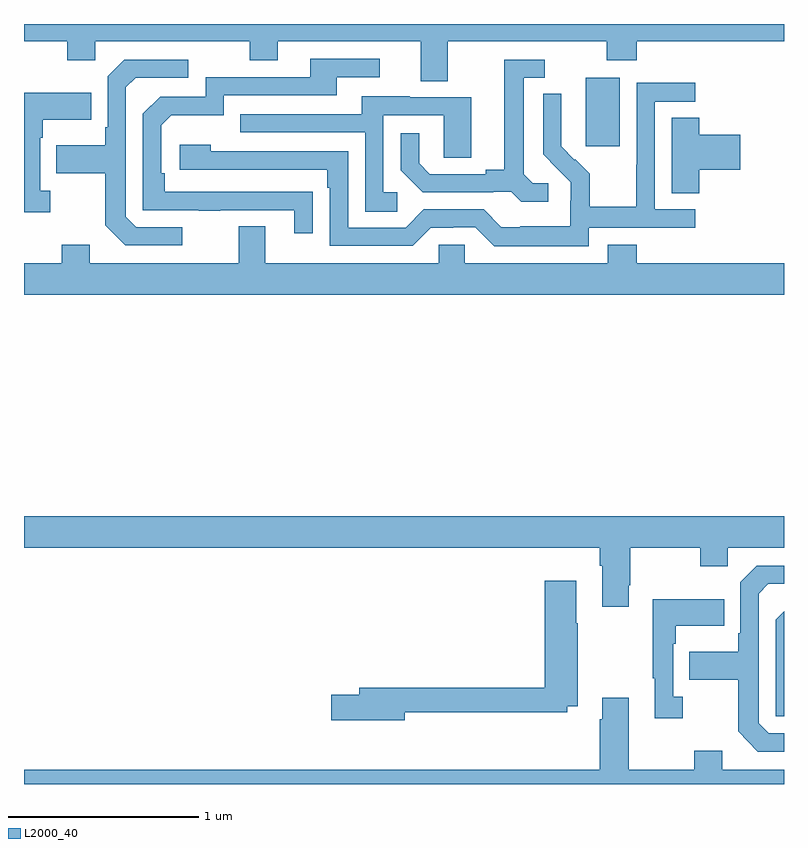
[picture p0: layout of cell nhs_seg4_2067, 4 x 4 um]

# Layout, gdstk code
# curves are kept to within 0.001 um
import gdstk
lib = gdstk.Library(unit=1e-6, precision=1e-09)
def R(c, l, rs):  # rectangles x0, y0, x1, y1
    for r in rs: c.add(gdstk.rectangle(r[:2], r[2:], *l))
def P(c, l, *ps):  # polygons
    for p in ps: c.add(gdstk.Polygon(p, *l))
L2000_40 = (2000, 40)

nhs_seg4_2067 = lib.new_cell('nhs_seg4_2067')
R(nhs_seg4_2067, L2000_40, [(219.956,808.257,220.135,808.618)])
P(nhs_seg4_2067, L2000_40, [(219.229,808.808),(220.066,808.808),(220.066,808.709),(220.226,808.709),(220.226,808.808),(221,808.808),(221,808.9),(217,808.9),(217,808.808),(217.228,808.808),(217.228,808.709),(217.374,808.709),(217.374,808.808),(218.188,808.808),(218.188,808.709),(218.335,808.709),(218.335,808.808),(219.089,808.808),(219.089,808.6),(219.229,808.6)],
  [(218.519,808.016),(217.742,808.017),(217.742,808.114),(217.722,808.114),(217.722,808.368),(217.775,808.421),(218.052,808.421),(218.052,808.524),(218.647,808.524),(218.647,808.62),(218.872,808.62),(218.872,808.716),(218.507,808.716),(218.507,808.62),(217.956,808.62),(217.956,808.518),(217.716,808.518),(217.626,808.428),(217.626,807.921),(217.921,807.921),(217.921,807.916),(218.033,807.916),(218.033,807.921),(218.423,807.921),(218.423,807.798),(218.519,807.798)],
  [(217.834,807.831),(217.59,807.831),(217.536,807.885),(217.536,808.566),(217.587,808.617),(217.864,808.617),(217.864,808.713),(217.527,808.713),(217.44,808.626),(217.44,808.357),(217.428,808.357),(217.428,808.261),(217.171,808.261),(217.171,808.114),(217.428,808.114),(217.428,807.841),(217.533,807.735),(217.834,807.735)],
  [(219.76,808.062),(219.678,808.062),(219.631,808.109),(219.631,808.617),(219.742,808.617),(219.742,808.713),(219.527,808.713),(219.527,808.133),(219.431,808.133),(219.431,808.11),(219.136,808.11),(219.079,808.167),(219.079,808.324),(218.982,808.324),(218.982,808.13),(219.098,808.014),(219.47,808.014),(219.47,808.017),(219.564,808.017),(219.616,807.965),(219.76,807.965)],
  [(219.972,807.828),(220.534,807.828),(220.534,807.924),(220.32,807.924),(220.32,808.491),(220.534,808.491),(220.534,808.59),(220.224,808.59),(220.224,808.16),(220.222,808.16),(220.222,807.937),(219.977,807.937),(219.977,808.111),(219.9,808.188),(219.897,808.185),(219.827,808.256),(219.828,808.532),(219.732,808.532),(219.732,808.214),(219.878,808.066),(219.878,807.969),(219.876,807.969),(219.876,807.835),(219.613,807.835),(219.613,807.831),(219.513,807.831),(219.42,807.924),(219.105,807.924),(219.009,807.828),(218.706,807.828),(218.706,808.23),(217.982,808.23),(217.982,808.264),(217.821,808.264),(217.821,808.134),(218.597,808.134),(218.597,808.037),(218.61,808.037),(218.61,807.732),(219.045,807.732),(219.141,807.828),(219.26,807.828),(219.26,807.831),(219.375,807.831),(219.475,807.731),(219.972,807.731)],
  [(217.138,808.022),(217.086,808.022),(217.086,808.301),(217.099,808.301),(217.099,808.397),(217.355,808.397),(217.355,808.537),(217,808.537),(217,807.909),(217.138,807.909)],
  [(218.965,808.014),(218.892,808.014),(218.892,808.419),(219.21,808.419),(219.21,808.195),(219.355,808.195),(219.355,808.515),(219.031,808.515),(219.031,808.519),(218.777,808.519),(218.777,808.425),(218.137,808.425),(218.137,808.329),(218.796,808.329),(218.796,807.913),(218.965,807.913)],
  [(220.553,808.133),(220.771,808.133),(220.771,808.316),(220.553,808.316),(220.553,808.406),(220.409,808.406),(220.409,808.009),(220.553,808.009)],
  [(221,807.64),(220.226,807.64),(220.226,807.739),(220.073,807.739),(220.073,807.64),(219.321,807.64),(219.321,807.738),(219.183,807.738),(219.183,807.64),(218.269,807.64),(218.269,807.835),(218.129,807.835),(218.129,807.64),(217.345,807.64),(217.345,807.739),(217.198,807.739),(217.198,807.64),(217,807.64),(217,807.476),(221,807.476)],
  [(220.183,805.945),(220.191,805.945),(220.191,806.144),(220.558,806.144),(220.558,806.045),(220.704,806.045),(220.704,806.144),(221,806.144),(221,806.308),(217,806.308),(217,806.144),(220.031,806.144),(220.031,806.048),(220.043,806.048),(220.043,805.833),(220.183,805.833)],
  [(221,805.167),(220.92,805.167),(220.866,805.221),(220.866,805.902),(220.917,805.953),(221,805.953),(221,806.049),(220.857,806.049),(220.77,805.962),(220.77,805.693),(220.758,805.693),(220.758,805.597),(220.501,805.597),(220.501,805.45),(220.758,805.45),(220.758,805.177),(220.863,805.071),(221,805.071)],
  [(219.004,805.278),(219.858,805.278),(219.858,805.31),(219.915,805.31),(219.915,805.745),(219.907,805.745),(219.907,805.969),(219.74,805.969),(219.74,805.406),(218.765,805.406),(218.765,805.37),(218.616,805.37),(218.616,805.235),(219.004,805.235)],
  [(220.468,805.358),(220.416,805.358),(220.416,805.637),(220.429,805.637),(220.429,805.733),(220.685,805.733),(220.685,805.873),(220.308,805.873),(220.308,805.457),(220.319,805.457),(220.319,805.245),(220.468,805.245)],
  [(221,805.808),(220.956,805.764),(220.956,805.257),(221,805.257)],
  [(221,804.976),(220.675,804.976),(220.675,805.075),(220.528,805.075),(220.528,804.976),(220.183,804.976),(220.183,805.354),(220.043,805.354),(220.043,805.241),(220.031,805.241),(220.031,804.976),(217,804.976),(217,804.9),(221,804.9)])

lib.write_gds('nhs_seg4_2067.gds')
